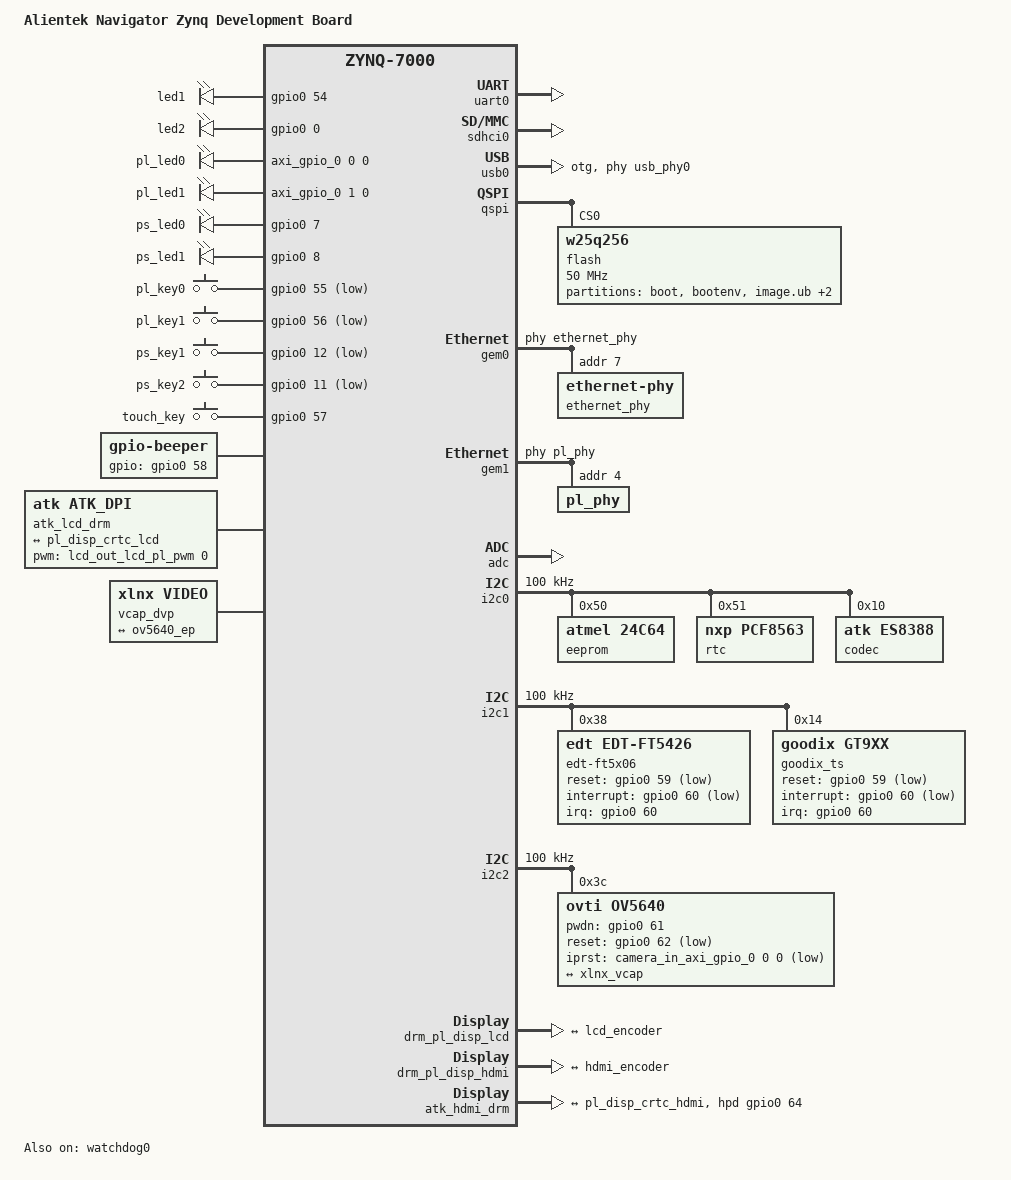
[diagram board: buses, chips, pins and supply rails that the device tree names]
#include <dt-bindings/gpio/gpio.h>
#include <dt-bindings/input/input.h>
#include <dt-bindings/media/xilinx-vip.h>
#include <dt-bindings/phy/phy.h>

/ {
	model = "Alientek Navigator Zynq Development Board";
	compatible = "xlnx,zynq-zc702", "xlnx,zynq-7000";

	//此处添加chosen节点方便用于直接拷贝system-user.dtsi用于petalinux工程
	chosen {
		bootargs = "console=ttyPS0,115200 cma=50M earlycon root=/dev/mmcblk0p2 rw rootwait";
		stdout-path = "serial0:115200n8";
	};

    leds {
		compatible = "gpio-leds";

		gpio-led1 {
			label = "led1";
			gpios = <&gpio0 54 GPIO_ACTIVE_HIGH>;
			default-state = "on";
		};

		gpio-led2 {
			label = "led2";
			gpios = <&gpio0 0 GPIO_ACTIVE_HIGH>;
			linux,default-trigger = "heartbeat";
		};

		gpio-led3 {
			label = "pl_led0";
			gpios = <&axi_gpio_0 0 0 GPIO_ACTIVE_HIGH>;
			default-state = "on";
		};

		gpio-led4 {
			label = "pl_led1";
			gpios = <&axi_gpio_0 1 0 GPIO_ACTIVE_HIGH>;
			linux,default-trigger = "timer";
		};

		gpio-led5 {
			label = "ps_led0";
			gpios = <&gpio0 7 GPIO_ACTIVE_HIGH>;
			default-state = "on";
		};

		gpio-led6 {
			label = "ps_led1";
			gpios = <&gpio0 8 GPIO_ACTIVE_HIGH>;
			linux,default-trigger = "timer";
		};
	};

	keys {
		compatible = "gpio-keys";
		autorepeat;

		gpio-key1 {
			label = "pl_key0";
			gpios = <&gpio0 55 GPIO_ACTIVE_LOW>;
			linux,code = <KEY_LEFT>;
			gpio-key,wakeup;
			autorepeat;
		};

		gpio-key2 {
			label = "pl_key1";
			gpios = <&gpio0 56 GPIO_ACTIVE_LOW>;
			linux,code = <KEY_RIGHT>;
			gpio-key,wakeup;
			autorepeat;
		};

		gpio-key3 {
			label = "ps_key1";
			gpios = <&gpio0 12 GPIO_ACTIVE_LOW>;
			linux,code = <KEY_UP>;
			gpio-key,wakeup;
			autorepeat;
		};

		gpio-key4 {
			label = "ps_key2";
			gpios = <&gpio0 11 GPIO_ACTIVE_LOW>;
			linux,code = <KEY_DOWN>;
			gpio-key,wakeup;
			autorepeat;
		};

		touch-key {
			label = "touch_key";
			gpios = <&gpio0 57 GPIO_ACTIVE_HIGH>;
			linux,code = <KEY_ENTER>;
			gpio-key,wakeup;
			autorepeat;
		};
	};

	beep {
		compatible = "gpio-beeper";
		gpios = <&gpio0 58 GPIO_ACTIVE_HIGH>;
	};

	usb_phy0: phy0@e0002000 {
		compatible = "ulpi-phy";
		#phy-cells = <0>;
		reg = <0xe0002000 0x1000>;
		view-port = <0x0170>;
		drv-vbus;
	};
};

&uart0 {
	u-boot,dm-pre-reloc;
	status = "okay";
};

&sdhci0 {
	u-boot,dm-pre-reloc;
	status = "okay";
};

&usb0 {
	dr_mode = "otg";
	usb-phy = <&usb_phy0>;
};

&qspi {
	u-boot,dm-pre-reloc;
	flash@0 { /* 16 MB */
		compatible = "w25q256", "jedec,spi-nor";
		reg = <0x0>;
		spi-max-frequency = <50000000>;
		#address-cells = <1>;
		#size-cells = <1>;
		partition@0x000000 {
			label = "boot";
			reg = <0x000000 0x600000>;
		};
		partition@0x600000 {
			label = "bootenv";
			reg = <0x600000 0x020000>;
		};
		partition@0x620000 {
			label = "image.ub";
			reg = <0x620000 0x700000>;
		};
		partition@0xD20000 {
			label = "boot.scr";
			reg = <0xD20000 0x020000>;
		};
		partition@0xD40000 {
			label = "space";
			reg = <0xD40000 0x000000>;
		};
	};
};

&gem0 {
	local-mac-address = [00 0a 35 00 8b 87];

	phy-handle = <&ethernet_phy>;
	ethernet_phy: ethernet-phy@7 {	/* yt8521 */
		reg = <0x7>;
		device_type = "ethernet-phy";
	};
};

&gem1 {
	local-mac-address = [00 0a 35 00 11 55];
	phy-reset-gpio = <&gpio0 63 GPIO_ACTIVE_LOW>;
	phy-reset-active-low;

	phy-handle = <&pl_phy>;
	pl_phy: pl_phy@4 {	
		reg = <0x4>;
		device_type = "ethernet-phy";
	};
};

&watchdog0 {
	status = "okay";
	reset-on-timeout;		// Enable watchdog reset function
};

&adc {
	status = "okay";

	xlnx,channels {
		#address-cells = <1>;
		#size-cells = <0>;

		channel@0 {
			reg = <0>;
		};
	};
};

&i2c0 {
	clock-frequency = <100000>;

	eeprom@50 {
		compatible = "atmel,24c64";
		reg = <0x50>;
		pagesize = <32>;
	};

	rtc@51 {
		compatible = "nxp,pcf8563";
		reg = <0x51>;
	};

	codec: es8388@10 {
		compatible = "atk,es8388";
		reg = <0x10>;
		clock-names = "mclk";

		clocks = <&clk_wiz_0 1>;
		#sound-dai-cells = <0>;
		status = "okay";
	};
};

&i2c1 {
	clock-frequency = <100000>;

	edt-ft5x06@38 {
		compatible = "edt,edt-ft5426";
		reg = <0x38>;

		interrupt-parent = <&gpio0>;
		interrupts = <60 0x2>;

		reset-gpio = <&gpio0 59 GPIO_ACTIVE_LOW>;
		interrupt-gpio = <&gpio0 60 GPIO_ACTIVE_LOW>;
	};

	goodix_ts@14 {
		compatible = "goodix,gt9xx";
		status = "okay";
		reg = <0x14>;
		interrupt-parent = <&gpio0>;
		interrupts = <60 0>;
		reset-gpio = <&gpio0 59 GPIO_ACTIVE_LOW>;
		interrupt-gpio = <&gpio0 60 GPIO_ACTIVE_LOW>;
	};
};

&i2c2 {
	clock-frequency = <100000>;

	ov5640@3c {
		compatible = "ovti,ov5640";
		reg = <0x3c>;

		pwdn-gpios = <&gpio0 61 GPIO_ACTIVE_HIGH>;
		reset-gpios = <&gpio0 62 GPIO_ACTIVE_LOW>;
		iprst-gpios = <&camera_in_axi_gpio_0 0 0 GPIO_ACTIVE_LOW>;

		status = "okay";

		#address-cells = <1>;
		#size-cells = <0>;

		port@0 {
			reg = <0>;

			ov5640_ep: endpoint {
				remote-endpoint = <&xlnx_vcap>;
			};
		};
	};
};

&audio_audio_formatter{
	audio-codec = <&codec>;
};

&clk_wiz_0 {
    compatible = "xlnx,clocking-wizard";
    xlnx,nr-outputs = <2>;
};

&lcd_out_lcd_pl_pwm{
	compatible = "digilent,axi-pwm";
	#pwm-cells = <2>;
	clock-names = "pwm";
	npwm = <1>;
};

&lcd_out_lcd_vtc {
	compatible = "xlnx,bridge-v-tc-6.1";
	xlnx,pixels-per-clock = <1>;
};

#ifndef Z7010		//7010的开发板因为pl资源不够，没有添加hdmi
&hdmi_out_clk_wiz_dyn{
    compatible = "xlnx,clocking-wizard";
    xlnx,nr-outputs = <2>;
};

&hdmi_out_hdmi_vtc {
	compatible = "xlnx,bridge-v-tc-6.1";
	xlnx,pixels-per-clock = <1>;
};
#endif

&amba_pl {
	drm_pl_disp_lcd {
		compatible = "xlnx,pl-disp";
		dmas = <&lcd_out_v_frmbuf_rd_0 0>;
		dma-names = "dma0";
		xlnx,vformat = "BG24";
		xlnx,bridge = <&lcd_out_lcd_vtc>;

		ports {
			#address-cells = <1>;
			#size-cells = <0>;
			port@0 {
				reg = <0>;
				pl_disp_crtc_lcd:endpoint {
					remote-endpoint = <&lcd_encoder>;
				};
			};
		};
	};

	atk_lcd_drm{
		compatible = "atk,atk_dpi";
		status = "okay";

		clocks = <&clk_wiz_0 0>;
		clock-names = "lcd_pclk";
		pwms = <&lcd_out_lcd_pl_pwm 0 5000000>;

		lcdID = <&lcd_out_lcd_id 0 0 GPIO_ACTIVE_LOW
				 &lcd_out_lcd_id 1 0 GPIO_ACTIVE_LOW
				 &lcd_out_lcd_id 2 0 GPIO_ACTIVE_LOW>;

		ports {
			#address-cells = <1>;
			#size-cells = <0>;
			port@0 {
				reg = <0>;
				lcd_encoder: endpoint {
					remote-endpoint = <&pl_disp_crtc_lcd>;
				};
			};
		};

		display-timings {					/* 时序信息 */
			timing_4342: timing0 {
				clock-frequency = <9000000>; /* LCD 像素时钟，单位 Hz */
				hactive = <480>;			/* LCD X 轴像素个数 */
				vactive = <272>;			/* LCD Y 轴像素个数 */
				hback-porch = <2>;			/* LCD hfp 参数 */
				hfront-porch = <2>;			/* LCD hbp 参数 */
				hsync-len = <41>;			/* LCD hspw 参数 */
				vback-porch = <2>;			/* LCD vbp 参数 */
				vfront-porch = <2>;			/* LCD vfp 参数 */
				vsync-len = <10>;			/* LCD vspw 参数 */
				hsync-active = <0>;			/* hsync 数据线极性 */
				vsync-active = <0>;			/* vsync 数据线极性 */
				de-active = <1>;			/* de 数据线极性 */
			};
			timing_7084: timing1 {
				clock-frequency = <33330000>;
				hactive = <800>;
				vactive = <480>;
				hback-porch = <88>;
				hfront-porch = <40>;
				hsync-len = <128>;
				vback-porch = <33>;
				vfront-porch = <10>;
				vsync-len = <2>;
				hsync-active = <0>;
				vsync-active = <0>;
				de-active = <1>;
				pixelclk-active = <0>;
			};
			timing_7016: timing2 {
				clock-frequency = <51200000>;
				hactive = <1024>;
				vactive = <600>;
				hback-porch = <140>;
				hfront-porch = <160>;
				hsync-len = <20>;
				vback-porch = <20>;
				vfront-porch = <12>;
				vsync-len = <3>;
				hsync-active = <0>;
				vsync-active = <0>;
				de-active = <1>;
				pixelclk-active = <0>;
			};
			timing_1018: timing3 {
				clock-frequency = <71100000>;
				hactive = <1280>;
				vactive = <800>;
				hback-porch = <80>;
				hfront-porch = <70>;
				hsync-len = <10>;
				vback-porch = <10>;
				vfront-porch = <10>;
				vsync-len = <3>;
				hsync-active = <0>;
				vsync-active = <0>;
				de-active = <1>;
				pixelclk-active = <0>;
			};
		};
	};

#ifndef Z7010
	drm_pl_disp_hdmi {
		compatible = "xlnx,pl-disp";
		dmas = <&hdmi_out_v_frmbuf_rd_0 0>;
		dma-names = "dma0";
		xlnx,vformat = "BG24";
		xlnx,bridge = <&hdmi_out_hdmi_vtc>;

		ports {
			#address-cells = <1>;
			#size-cells = <0>;
			port@0 {
				reg = <0>;
				pl_disp_crtc_hdmi:endpoint {
					remote-endpoint = <&hdmi_encoder>;
				};
			};
		};
	};

	atk_hdmi_drm{
		compatible = "atk,atk-hdmi";
		status = "okay";

		clocks = <&hdmi_out_clk_wiz_dyn 0>, <&hdmi_out_clk_wiz_dyn 1>;
		clock-names = "hdmi_pclk", "hdmi_pclk_5x";
    	clk-num = <2>;			//时钟数
		ddc-i2c-bus = <&i2c1>;
		hpd-gpios = <&gpio0 64 GPIO_ACTIVE_HIGH>;

		ports {
				#address-cells = <1>;
				#size-cells = <0>;
			port@0 {
				reg = <0>;
				hdmi_encoder: endpoint {
					remote-endpoint = <&pl_disp_crtc_hdmi>;
				};
			};
		};
	};
#endif

	vcap_dvp {
		compatible = "xlnx,video";
		dmas = <&camera_in_v_frmbuf_wr_0 0>;
		dma-names = "port0";
		status = "okay";

		ports {
			#address-cells = <1>;
			#size-cells = <0>;

			port@0 {
				reg = <0>;
				direction = "input";

				xlnx_vcap: endpoint {
					remote-endpoint = <&ov5640_ep>;
				};
			};
		};
	};	
};
